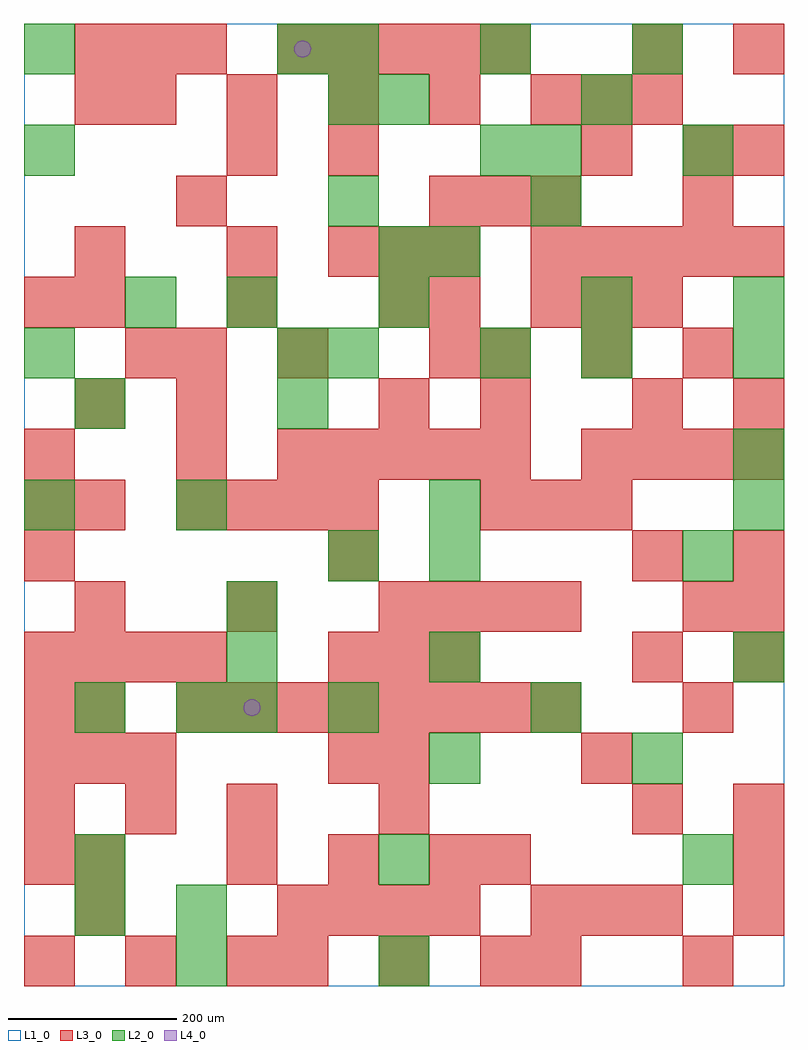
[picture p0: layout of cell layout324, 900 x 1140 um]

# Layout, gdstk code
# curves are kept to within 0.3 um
import gdstk
lib = gdstk.Library(unit=1e-6, precision=1e-09)
def R(c, l, rs):  # rectangles x0, y0, x1, y1
    for r in rs: c.add(gdstk.rectangle(r[:2], r[2:], *l))
def A(c, l, x, y, w, h, nx, ny, dx, dy):  # array of equal rectangles
    R(c, l, [(x+i*dx, y+j*dy, x+i*dx+w, y+j*dy+h) for i in range(nx) for j in range(ny)])
def P(c, l, *ps):  # polygons
    for p in ps: c.add(gdstk.Polygon(p, *l))
L1_0 = (1, 0)
L2_0 = (2, 0)
L3_0 = (3, 0)
L4_0 = (4, 0)

layout324 = lib.new_cell('layout324')
R(layout324, L1_0, [(0,0,900,1140)])
A(layout324, L2_0, 180, 60, 60, 60, 1, 3, 0, 240)
A(layout324, L2_0, 60, 120, 60, 60, 3, 1, 360, 0)
A(layout324, L2_0, 480, 240, 60, 60, 1, 3, 0, 120)
A(layout324, L2_0, 240, 300, 60, 60, 1, 3, 0, 60)
A(layout324, L2_0, 360, 1080, 60, 60, 3, 1, 180, 0)
R(layout324, L2_0, [(180,0,240,60), (420,0,480,60), (60,60,120,120), (720,240,780,300), (60,300,120,360), (360,300,420,360), (600,300,660,360), (840,360,900,420), (360,480,420,540), (780,480,840,540), (0,540,60,600), (480,540,540,600), (840,540,900,600), (840,600,900,660), (60,660,120,720), (300,660,360,720), (0,720,60,780), (300,720,360,780), (360,720,420,780), (540,720,600,780), (660,720,720,780), (840,720,900,780), (120,780,180,840), (240,780,300,840), (420,780,480,840), (660,780,720,840), (840,780,900,840), (420,840,480,900), (480,840,540,900), (360,900,420,960), (600,900,660,960), (0,960,60,1020), (540,960,600,1020), (600,960,660,1020), (780,960,840,1020), (360,1020,420,1080), (420,1020,480,1080), (660,1020,720,1080), (0,1080,60,1140), (300,1080,360,1140)])
A(layout324, L3_0, 0, 0, 60, 60, 3, 2, 120, 180)
A(layout324, L3_0, 300, 0, 60, 60, 3, 1, 120, 0)
A(layout324, L3_0, 300, 60, 60, 60, 4, 1, 60, 0)
A(layout324, L3_0, 600, 60, 60, 60, 3, 2, 60, 720)
A(layout324, L3_0, 840, 60, 60, 60, 1, 3, 0, 60)
A(layout324, L3_0, 240, 120, 60, 60, 3, 1, 120, 0)
A(layout324, L3_0, 0, 240, 60, 60, 3, 1, 60, 0)
A(layout324, L3_0, 180, 300, 60, 60, 8, 1, 60, 0)
A(layout324, L3_0, 0, 360, 60, 60, 4, 1, 60, 0)
A(layout324, L3_0, 360, 360, 60, 60, 3, 2, 60, 480)
A(layout324, L3_0, 840, 360, 60, 60, 1, 3, 0, 60)
A(layout324, L3_0, 60, 420, 60, 60, 3, 2, 180, 360)
A(layout324, L3_0, 480, 420, 60, 60, 3, 2, 60, 480)
A(layout324, L3_0, 0, 480, 60, 60, 3, 1, 360, 0)
A(layout324, L3_0, 180, 540, 60, 60, 4, 1, 60, 0)
A(layout324, L3_0, 540, 540, 60, 60, 3, 1, 60, 0)
A(layout324, L3_0, 180, 600, 60, 60, 1, 3, 0, 60)
A(layout324, L3_0, 300, 600, 60, 60, 5, 2, 60, 480)
A(layout324, L3_0, 660, 600, 60, 60, 4, 1, 60, 0)
A(layout324, L3_0, 60, 660, 60, 60, 1, 3, 0, 180)
A(layout324, L3_0, 540, 720, 60, 60, 3, 1, 120, 0)
A(layout324, L3_0, 600, 840, 60, 60, 5, 1, 60, 0)
A(layout324, L3_0, 120, 1020, 60, 60, 5, 1, 120, 0)
A(layout324, L3_0, 60, 1080, 60, 60, 3, 1, 60, 0)
R(layout324, L3_0, [(600,0,660,60), (780,0,840,60), (60,60,120,120), (0,120,60,180), (60,120,120,180), (540,120,600,180), (420,180,480,240), (720,180,780,240), (360,240,420,300), (420,240,480,300), (660,240,720,300), (0,300,60,360), (60,300,120,360), (780,300,840,360), (720,360,780,420), (780,420,840,480), (0,540,60,600), (60,540,120,600), (0,600,60,660), (420,660,480,720), (540,660,600,720), (720,660,780,720), (840,660,900,720), (120,720,180,780), (300,720,360,780), (480,720,540,780), (0,780,60,840), (480,780,540,840), (240,840,300,900), (180,900,240,960), (780,900,840,960), (240,960,300,1020), (360,960,420,1020), (660,960,720,1020), (780,960,840,1020), (840,960,900,1020), (660,1020,720,1080), (720,1020,780,1080), (720,1080,780,1140), (840,1080,900,1140)])
P(layout324, L4_0, [(280,330),(279.239,333.827),(277.071,337.071),(273.827,339.239),(270,340),(266.173,339.239),(262.929,337.071),(260.761,333.827),(260,330),(260.761,326.173),(262.929,322.929),(266.173,320.761),(270,320),(273.827,320.761),(277.071,322.929),(279.239,326.173)],
  [(340,1110),(339.239,1113.827),(337.071,1117.071),(333.827,1119.239),(330,1120),(326.173,1119.239),(322.929,1117.071),(320.761,1113.827),(320,1110),(320.761,1106.173),(322.929,1102.929),(326.173,1100.761),(330,1100),(333.827,1100.761),(337.071,1102.929),(339.239,1106.173)])

lib.write_gds('layout324.gds')
